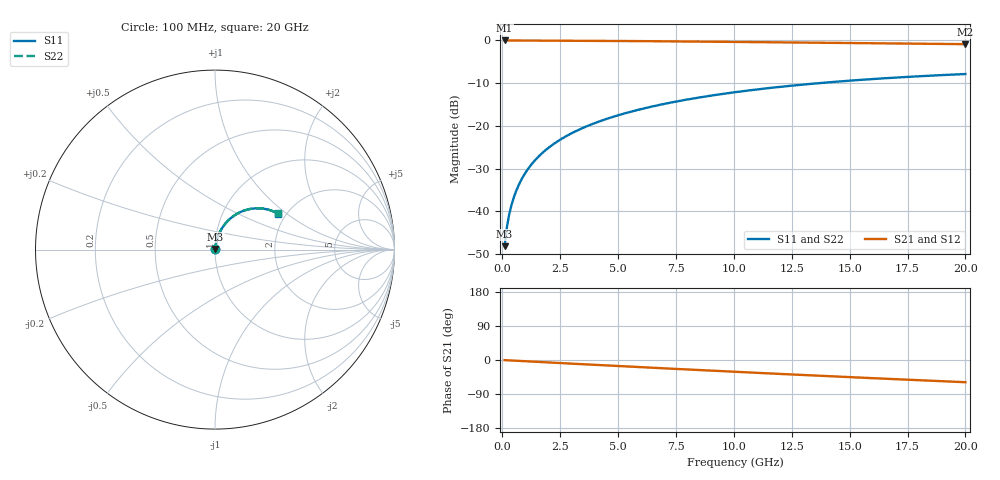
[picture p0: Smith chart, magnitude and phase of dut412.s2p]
! Touchstone file exported from HFSS 2026.1.0
!  File:  C:/ffzhzh/LocalFiles/Ansys_Project_Files/temp_train_BSMRDL_412_1783012559_53980.aedt
!  Generated:  01:17:32 AM Jul  3, 2026
!  Design:  BSMRDL
!  Project:  temp_train_BSMRDL_412_1783012559_53980
! Variables:
!  h_bsmrdl = 5.46um
!  h_ox = 20um
!  h_rdl = 5um
!  h_sub = 80um
!  h_tmrdl = 5um
!  h_tsv = 80um
!  h_via = 3um
!  l_bsmrdl = 953.82um
!  l_sub = 1353.82um
!  l_tmrdl = 200um
!  m_sub = 200um
!  pitch = 55.34um
!  r_tsv = 6um
!  s_tmrdl = 10um
!  w_bsmrdl = 29.65um
!  w_sub = 500um
!  w_tmrdl = 12um
!  x_tsv_center1 = 206um
!  x_tsv_center2 = 1189.47um
!  x_tsv_center3 = 1401.47um
!  x_tsv_center4 = 2384.94um
!  x_tsv_center5 = 2596.94um
!  x_tsv_center6 = 3580.41um
# GHz S MA R 50.000000
! Terminal data exported
! Port[1] = BSM_RDL1_1_T1
! Port[2] = BSM_RDL1_1_T2
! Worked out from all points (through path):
!   200 points, 100 MHz to 20 GHz, reference 50 ohm
!   highest |S21| = -0.02 dB at 100 MHz (marker M1); lowest = -0.9 dB at 20 GHz (marker M2)
!   group delay of S21, straight-line fit = 8.14 ps
!   lowest |S11| = -48.2 dB at 100 MHz (marker M3), VSWR 1.01, Z = 50.2 + j0.311 ohm
!   |S11| at or under -10 dB: start of sweep to 13.71 GHz
!   |S22| runs from -48.2 to -7.9 dB; largest |S21 - S12| = 4e-14
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0.1  0.003899 52.5  0.9976 -0.3  0.9976 -0.3  0.003899 52.5
! Gamma 0 0 0 0
! Port Impedance 50 0 50 0
0.2  0.006537 65.9  0.9974 -0.7  0.9974 -0.7  0.006537 65.9
0.3  0.0092 71.5  0.9972 -1.0  0.9972 -1.0  0.0092 71.5
0.4  0.01187 74.6  0.9971 -1.3  0.9971 -1.3  0.01187 74.6
0.5  0.01457 76.6  0.997 -1.6  0.997 -1.6  0.01457 76.6
0.7  0.02001 78.8  0.9967 -2.3  0.9967 -2.3  0.02001 78.8
0.8  0.02274 79.4  0.9966 -2.6  0.9966 -2.6  0.02274 79.4
1  0.02822 80.0  0.9963 -3.3  0.9963 -3.3  0.02822 80.0
1.2  0.0337 80.2  0.996 -3.9  0.996 -3.9  0.0337 80.2
1.4  0.03916 80.2  0.9956 -4.5  0.9956 -4.5  0.03916 80.2
1.7  0.04733 79.8  0.995 -5.5  0.995 -5.5  0.04732 79.8
2  0.05543 79.2  0.9943 -6.5  0.9943 -6.5  0.05543 79.2
2.7  0.07408 77.5  0.9924 -8.7  0.9924 -8.7  0.07408 77.5
3.5  0.09493 75.3  0.9898 -11.2  0.9898 -11.2  0.09493 75.3
4.2  0.1128 73.3  0.9872 -13.4  0.9872 -13.4  0.1128 73.3
5  0.1327 71.0  0.9841 -15.9  0.9841 -15.9  0.1327 71.1
6.8  0.1759 65.9  0.9761 -21.4  0.9761 -21.4  0.1759 65.9
8.3  0.21 61.6  0.9686 -25.9  0.9686 -25.9  0.21 61.6
10.1  0.2484 56.5  0.9588 -31.3  0.9588 -31.3  0.2483 56.5
13.4  0.3109 47.3  0.9397 -40.7  0.9397 -40.7  0.3109 47.3
16.7  0.3627 38.4  0.9206 -49.9  0.9206 -49.9  0.3627 38.5
20  0.4037 29.8  0.9033 -58.6  0.9033 -58.6  0.4036 29.9
